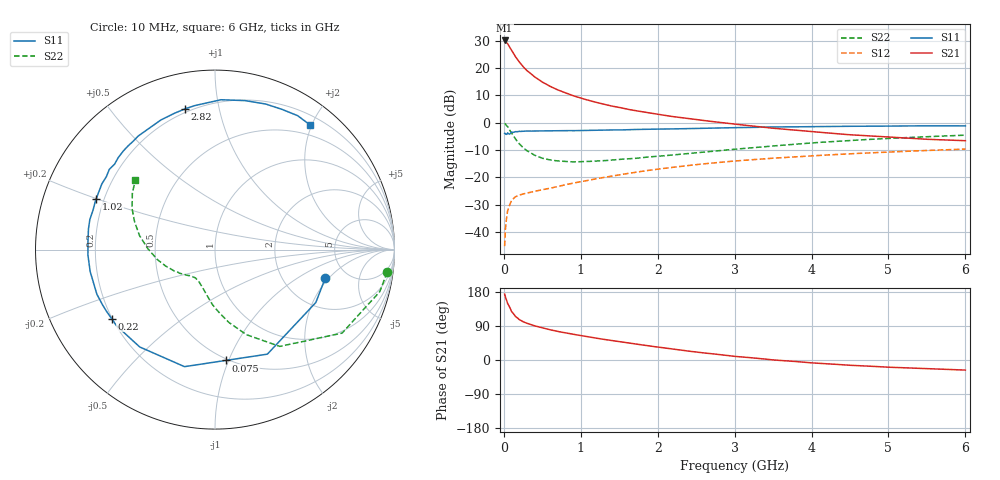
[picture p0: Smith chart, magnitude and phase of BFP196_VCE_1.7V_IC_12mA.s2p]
! Infineon Technologies  Discrete & RF Semiconductors
! BFP196
! VCE = 1.7 V,  IC =  12mA
! Common Emitter S-Parameters:  Jan 2016
# GHz  S  MA  R  50
!  f  S11  S21  S12  S22
! GHz  MAG  ANG  MAG  ANG  MAG  ANG  MAG  ANG
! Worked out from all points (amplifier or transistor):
!   210 points, 10 MHz to 6 GHz, reference 50 ohm
!   highest |S21| = 30.1 dB at 10 MHz (marker M1)
!   |S21| within 3 dB of that: start of sweep to 87.18 MHz
!   unconditionally stable (mu >= 1): 820.8 MHz to 3.431 GHz; 3.756 GHz to 3.804 GHz
!   at 185 MHz: K = 0.35, MSG = 24.8 dB, |S12| = -26.7 dB
!   at 1.52 GHz: K = 1.15, MAG = 9.9 dB, |S12| = -19.0 dB
!   at 6 GHz: K = 0.99, MSG = 1.5 dB, |S12| = -9.7 dB
!   S11 on the Smith chart (normalised r, x): 10 MHz: 3.45, -1.82; 75 MHz: 0.49, -0.98; 220 MHz: 0.20, -0.29; 1.02 GHz: 0.17, +0.20; 2.82 GHz: 0.18, +0.80; 6 GHz: 0.34, +1.97
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0.01  0.6347 -14.4  31.94 173.9  0.0055 85.2  0.9677 -7.5
0.02  0.6344 -27.7  30.83 166.3  0.0109 76.4  0.9475 -14.3
0.05  0.6515 -63.4  27.82 148.8  0.0247 63.5  0.8473 -33.3
0.075  0.6203 -84.4  24.14 139.8  0.031 53.7  0.7335 -43.2
0.1  0.6739 -104.6  21.25 127.9  0.0379 47.4  0.649 -56.2
0.15  0.6857 -127.7  16.17 115.0  0.0439 39.4  0.5056 -69.7
0.2  0.6935 -142.3  12.94 106.8  0.0474 35.6  0.4116 -79.4
0.22  0.6927 -146.3  11.98 104.7  0.0483 34.9  0.385 -82.1
0.26  0.6981 -153.7  10.26 100.1  0.05 34.0  0.3388 -87.9
0.3  0.7035 -159.3  8.97 96.6  0.0514 34.3  0.3076 -92.5
0.4  0.7062 -170.0  6.88 90.1  0.0555 35.2  0.254 -101.0
0.5  0.7086 -177.5  5.532 84.7  0.0589 36.6  0.2236 -107.7
0.6  0.7091 176.4  4.631 79.8  0.063 38.9  0.2084 -112.9
0.7  0.7143 170.8  3.985 75.3  0.0678 40.4  0.1994 -117.2
1.02  0.72 156.8  2.762 63.8  0.0841 44.3  0.1935 -127.1
1.4  0.7394 142.8  2.019 51.6  0.1051 45.5  0.2065 -135.6
2.02  0.764 123.5  1.409 33.6  0.1423 43.3  0.2436 -149.3
2.82  0.8022 101.9  1.006 13.9  0.189 36.3  0.3093 -166.8
3.1  0.8133 95.8  0.909 8.0  0.2037 33.0  0.3354 -172.8
4.1  0.848 77.0  0.667 -8.7  0.2517 22.0  0.4359 167.7
5.1  0.8675 63.1  0.537 -19.7  0.2941 10.8  0.5233 152.0
6  0.8734 52.7  0.468 -26.6  0.3288 0.3  0.5906 138.8
